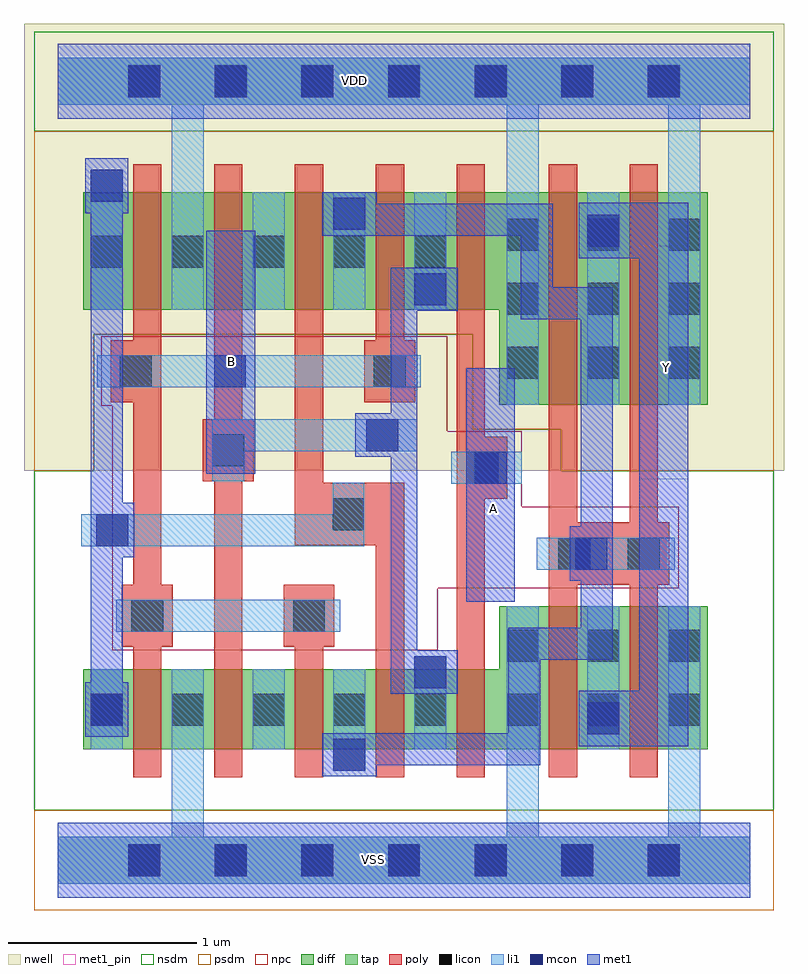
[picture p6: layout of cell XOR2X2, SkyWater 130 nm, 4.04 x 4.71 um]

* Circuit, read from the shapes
.subckt XOR2X2 A B VDD VSS Y
XM1 VSS B n1 VSS sky130_fd_pr__nfet_01v8 w=0.425 l=0.15
XM2 n2 n3 VSS VSS sky130_fd_pr__nfet_01v8 w=0.425 l=0.15
XM3 n4 B n2 VSS sky130_fd_pr__nfet_01v8 w=0.425 l=0.15
XM4 n3 n1 n4 VSS sky130_fd_pr__nfet_01v8 w=0.425 l=0.15
XM5 VSS A n3 VSS sky130_fd_pr__nfet_01v8 w=0.425 l=0.15
XM6 Y n4 VSS VSS sky130_fd_pr__nfet_01v8 w=0.76 l=0.15 m=2
XM7 VDD B n1 VDD sky130_fd_pr__pfet_01v8 w=0.625 l=0.15
XM8 n5 n3 VDD VDD sky130_fd_pr__pfet_01v8 w=0.625 l=0.15
XM9 n4 n1 n5 VDD sky130_fd_pr__pfet_01v8 w=0.625 l=0.15
XM10 n3 B n4 VDD sky130_fd_pr__pfet_01v8 w=0.625 l=0.15
XM11 VDD A n3 VDD sky130_fd_pr__pfet_01v8 w=0.625 l=0.15
XM12 Y n4 VDD VDD sky130_fd_pr__pfet_01v8 w=1.13 l=0.15 m=2
.ends

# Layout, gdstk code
from math import pi, radians
import gdstk
lib = gdstk.Library(unit=1e-6, precision=1e-09)
def R(c, l, rs):  # rectangles x0, y0, x1, y1
    for r in rs: c.add(gdstk.rectangle(r[:2], r[2:], *l))
def A(c, l, x, y, w, h, nx, ny, dx, dy):  # array of equal rectangles
    R(c, l, [(x+i*dx, y+j*dy, x+i*dx+w, y+j*dy+h) for i in range(nx) for j in range(ny)])
def P(c, l, *ps):  # polygons
    for p in ps: c.add(gdstk.Polygon(p, *l))
nwell = (64, 20)
diff = (65, 20)
tap = (65, 44)
poly = (66, 20)
licon = (66, 44)
li1 = (67, 20)
mcon = (67, 44)
met1_pin = (68, 16)
met1 = (68, 20)
nsdm = (93, 44)
psdm = (94, 20)
npc = (95, 20)

l1m1_c_cdns_751554744751 = lib.new_cell('L1M1_C_CDNS_7515547447512')
R(l1m1_c_cdns_751554744751, li1, [(-0.085,-0.165,0.085,0.085)])
R(l1m1_c_cdns_751554744751, mcon, [(-0.085,-0.085,0.085,0.085)])
R(l1m1_c_cdns_751554744751, met1, [(-0.145,-0.115,0.145,0.115)])

pyl1con_c_cdns_751554744 = lib.new_cell('PYL1CON_C_CDNS_751554744751')
R(pyl1con_c_cdns_751554744, poly, [(-0.135,-0.165,0.135,0.165)])
R(pyl1con_c_cdns_751554744, licon, [(-0.085,-0.085,0.085,0.085)])
R(pyl1con_c_cdns_751554744, npc, [(-0.185,-0.185,0.185,0.185)])

l1m1_c_cdns_751554744750 = lib.new_cell('L1M1_C_CDNS_751554744750')
R(l1m1_c_cdns_751554744750, li1, [(-0.165,-0.085,0.165,0.085)])
R(l1m1_c_cdns_751554744750, mcon, [(-0.085,-0.085,0.085,0.085)])
R(l1m1_c_cdns_751554744750, met1, [(-0.115,-0.145,0.115,0.145)])

l1m1_c_cdns_751554744753 = lib.new_cell('L1M1_C_CDNS_751554744753')
R(l1m1_c_cdns_751554744753, li1, [(-0.085,-0.165,0.085,0.165)])
R(l1m1_c_cdns_751554744753, mcon, [(-0.085,-0.085,0.085,0.085)])
R(l1m1_c_cdns_751554744753, met1, [(-0.115,-0.145,0.115,0.145)])

c_l1m1_c_cdns_751554744751 = lib.new_cell('L1M1_C_CDNS_7515547447513')
R(c_l1m1_c_cdns_751554744751, li1, [(-0.085,-0.085,0.085,0.085)])
R(c_l1m1_c_cdns_751554744751, mcon, [(-0.085,-0.085,0.085,0.085)])
R(c_l1m1_c_cdns_751554744751, met1, [(-0.145,-0.115,0.145,0.115)])

licondiff_c_cdns_7515547 = lib.new_cell('LICONDIFF_C_CDNS_751554744755')
R(licondiff_c_cdns_7515547, diff, [(-0.125,-0.145,0.125,0.145)])
R(licondiff_c_cdns_7515547, licon, [(-0.085,-0.085,0.085,0.085), (-0.085,-0.085,0.085,0.085)])

c_l1m1_c_cdns_751554744751_ = lib.new_cell('L1M1_C_CDNS_7515547447514')
R(c_l1m1_c_cdns_751554744751_, li1, [(-0.085,-0.165,0.085,0.085)])
R(c_l1m1_c_cdns_751554744751_, mcon, [(-0.085,-0.085,0.085,0.085)])
R(c_l1m1_c_cdns_751554744751_, met1, [(-0.115,-0.145,0.115,0.145)])

xor2x2 = lib.new_cell('XOR2X2')
R(xor2x2, nwell, [(-0.18,2.07,3.86,4.445)])
P(xor2x2, diff, [(3.455,3.55),(0.135,3.55),(0.135,2.925),(2.345,2.925),(2.345,2.42),(3.455,2.42)],
  [(3.455,1.35),(2.345,1.35),(2.345,1.015),(0.135,1.015),(0.135,0.59),(3.455,0.59)])
R(xor2x2, poly, [(0.4,0.44,0.55,3.7), (0.83,0.44,0.98,3.7), (1.26,0.44,1.41,1.165), (2.12,0.44,2.27,3.7), (1.69,2.6,1.84,3.7)])
P(xor2x2, poly, [(1.84,2.005),(1.41,2.005),(1.41,3.7),(1.26,3.7),(1.26,1.675),(1.69,1.675),(1.69,0.44),(1.84,0.44)],
  [(3.19,3.7),(3.04,3.7),(3.04,1.795),(2.76,1.795),(2.76,3.7),(2.61,3.7),(2.61,0.44),(2.76,0.44),(2.76,1.465),(3.04,1.465),(3.04,0.44),(3.19,0.44)])
A(xor2x2, licon, 0.375, -0.085, 0.17, 0.17, 7, 2, 0.46, 4.14)
A(xor2x2, licon, 2.385, 0.715, 0.17, 0.17, 3, 2, 0.43, 0.34)
A(xor2x2, licon, 2.385, 2.56, 0.17, 0.17, 3, 3, 0.43, 0.34)
R(xor2x2, licon, [(0.175,0.715,0.345,0.885), (0.605,0.715,0.775,0.885), (1.465,0.715,1.635,0.885), (1.895,0.715,2.065,0.885), (0.175,3.15,0.345,3.32), (0.605,3.15,0.775,3.32), (1.465,3.15,1.635,3.32), (1.895,3.15,2.065,3.32)])
R(xor2x2, li1, [(0.175,0.59,0.345,1.015), (1.465,0.59,1.635,1.015), (1.895,0.59,2.065,1.015), (2.815,0.59,2.985,1.35), (2.815,2.42,2.985,3.55), (0.175,2.925,0.345,3.55), (1.465,2.925,1.635,3.55), (1.895,2.925,2.065,3.55)])
P(xor2x2, li1, [(1.63,2.005),(1.46,2.005),(1.46,1.84),(0.25,1.84),(0.25,1.67),(1.63,1.67)],
  [(3.68,4.265),(0,4.265),(0,4.015),(0.605,4.015),(0.605,2.925),(0.775,2.925),(0.775,4.015),(2.385,4.015),(2.385,2.42),(2.555,2.42),(2.555,4.015),(3.245,4.015),(3.245,2.42),(3.415,2.42),(3.415,4.015),(3.68,4.015)],
  [(3.68,0.125),(3.415,0.125),(3.415,1.35),(3.245,1.35),(3.245,0.125),(2.555,0.125),(2.555,1.35),(2.385,1.35),(2.385,0.125),(0.775,0.125),(0.775,1.015),(0.605,1.015),(0.605,0.125),(0,0.125),(0,-0.125),(3.68,-0.125)])
A(xor2x2, mcon, 0.375, -0.085, 0.17, 0.17, 7, 2, 0.46, 4.14)
R(xor2x2, met1_pin, [(2.17,1.375,2.43,2.615), (3.09,2.025,3.35,3.265), (0.79,2.055,1.05,3.345)])
P(xor2x2, met1, [(2.125,3.15),(1.77,3.15),(1.77,0.885),(1.91,0.885),(1.91,2.98),(2.125,2.98)],
  [(2.95,3.045),(2.63,3.045),(2.63,3.49),(1.405,3.49),(1.405,3.32),(2.46,3.32),(2.46,2.875),(2.78,2.875),(2.78,1.235),(2.395,1.235),(2.395,0.675),(1.405,0.675),(1.405,0.505),(2.565,0.505),(2.565,1.065),(2.95,1.065)],
  [(3.35,3.495),(2.77,3.495),(2.77,3.2),(3.09,3.2),(3.09,0.9),(2.77,0.9),(2.77,0.605),(3.35,0.605)])
R(xor2x2, nsdm, [(-0.125,3.875,3.805,4.405)])
P(xor2x2, nsdm, [(3.805,2.07),(2.675,2.07),(2.675,2.29),(2.205,2.29),(2.205,2.795),(0.19,2.795),(0.19,2.07),(-0.125,2.07),(-0.125,0.265),(3.805,0.265)])
R(xor2x2, psdm, [(-0.125,-0.265,3.805,0.265)])
P(xor2x2, psdm, [(3.805,3.875),(-0.125,3.875),(-0.125,2.07),(0.19,2.07),(0.19,2.795),(2.205,2.795),(2.205,2.29),(2.675,2.29),(2.675,2.07),(3.805,2.07)])
P(xor2x2, npc, [(3.3,1.88),(2.465,1.88),(2.465,2.28),(2.07,2.28),(2.07,2.785),(0.29,2.785),(0.29,1.115),(2.02,1.115),(2.02,1.445),(3.3,1.445)])
xor2x2.add(gdstk.FlexPath([(1.12,0.59),(1.12,1.015)], 0.17, ends="flush", simple_path=True, layer=67, datatype=20))  # li1
xor2x2.add(gdstk.FlexPath([(1.12,2.925),(1.12,3.55)], 0.17, ends="flush", simple_path=True, layer=67, datatype=20))  # li1
xor2x2.add(gdstk.FlexPath([(2.545,1.63),(3.28,1.63)], 0.17, ends="flush", simple_path=True, layer=67, datatype=20))  # li1
xor2x2.add(gdstk.FlexPath([(1.91,2.26),(0.905,2.26),(0.905,2.015)], 0.17, ends="flush", simple_path=True, layer=67, datatype=20))  # li1
xor2x2.add(gdstk.FlexPath([(2.465,2.085),(2.09,2.085)], 0.17, ends="flush", simple_path=True, layer=67, datatype=20))  # li1
xor2x2.add(gdstk.FlexPath([(0.31,1.3),(1.5,1.3)], 0.17, ends="flush", simple_path=True, layer=67, datatype=20))  # li1
xor2x2.add(gdstk.FlexPath([(0.21,2.6),(1.93,2.6)], 0.17, ends="flush", simple_path=True, layer=67, datatype=20))  # li1
xor2x2.add(gdstk.FlexPath([(0,0),(3.68,0)], 0.4, ends="flush", simple_path=True, layer=68, datatype=20))  # met1
xor2x2.add(gdstk.FlexPath([(0,4.14),(3.68,4.14)], 0.4, ends="flush", simple_path=True, layer=68, datatype=20))  # met1
xor2x2.add(gdstk.FlexPath([(2.3,1.375),(2.3,2.615)], 0.26, ends="flush", simple_path=True, layer=68, datatype=20))  # met1
xor2x2.add(gdstk.FlexPath([(0.92,2.055),(0.92,3.345)], 0.26, ends="flush", simple_path=True, layer=68, datatype=20))  # met1
xor2x2.add(gdstk.FlexPath([(0.26,0.655),(0.26,3.73)], 0.17, ends="flush", simple_path=True, layer=68, datatype=20))  # met1
xor2x2.add(gdstk.FlexPath([(0,4.14),(3.68,4.14)], 0.4, ends="flush", simple_path=True, layer=68, datatype=16))  # met1_pin
xor2x2.add(gdstk.FlexPath([(0,0),(3.68,0)], 0.4, ends="flush", simple_path=True, layer=68, datatype=16))  # met1_pin
xor2x2.add(gdstk.FlexPath([(0,4.14),(3.68,4.14)], 0.25, ends="flush", simple_path=True, layer=65, datatype=44))  # tap
xor2x2.add(gdstk.FlexPath([(0,0),(3.68,0)], 0.25, ends="flush", simple_path=True, layer=65, datatype=44))  # tap
xor2x2.add(gdstk.Reference(l1m1_c_cdns_751554744751, (2.835,1.63), rotation=pi/2))
xor2x2.add(gdstk.Reference(pyl1con_c_cdns_751554744, (3.115,1.63), rotation=pi))
xor2x2.add(gdstk.Reference(pyl1con_c_cdns_751554744, (2.745,1.63), rotation=pi))
xor2x2.add(gdstk.Reference(pyl1con_c_cdns_751554744, (0.905,2.18), rotation=pi))
xor2x2.add(gdstk.Reference(pyl1con_c_cdns_751554744, (2.255,2.085), rotation=pi))
xor2x2.add(gdstk.Reference(pyl1con_c_cdns_751554744, (1.335,1.3), rotation=pi))
xor2x2.add(gdstk.Reference(pyl1con_c_cdns_751554744, (0.475,1.3), rotation=pi))
xor2x2.add(gdstk.Reference(pyl1con_c_cdns_751554744, (1.765,2.6), rotation=pi))
xor2x2.add(gdstk.Reference(pyl1con_c_cdns_751554744, (0.415,2.6), rotation=pi))
xor2x2.add(gdstk.Reference(pyl1con_c_cdns_751554744, (1.545,1.84), x_reflection=True))
xor2x2.add(gdstk.Reference(l1m1_c_cdns_751554744750, (2.3,2.085), x_reflection=True))
xor2x2.add(gdstk.Reference(l1m1_c_cdns_751554744750, (0.915,2.6), x_reflection=True))
xor2x2.add(gdstk.Reference(l1m1_c_cdns_751554744750, (0.29,1.755), rotation=pi, x_reflection=True))
xor2x2.add(gdstk.Reference(l1m1_c_cdns_751554744753, (2.9,0.755)))
xor2x2.add(gdstk.Reference(l1m1_c_cdns_751554744753, (2.9,3.345)))
xor2x2.add(gdstk.Reference(l1m1_c_cdns_751554744753, (0.26,0.8)))
xor2x2.add(gdstk.Reference(c_l1m1_c_cdns_751554744751, (1.55,3.435), rotation=pi))
xor2x2.add(gdstk.Reference(c_l1m1_c_cdns_751554744751, (1.55,0.56), rotation=pi))
xor2x2.add(gdstk.Reference(c_l1m1_c_cdns_751554744751, (1.98,3.035), x_reflection=True))
xor2x2.add(gdstk.Reference(c_l1m1_c_cdns_751554744751, (1.98,1), x_reflection=True))
xor2x2.add(gdstk.Reference(licondiff_c_cdns_7515547, (1.12,0.8)))
xor2x2.add(gdstk.Reference(licondiff_c_cdns_7515547, (1.12,3.235)))
xor2x2.add(gdstk.Reference(c_l1m1_c_cdns_751554744751_, (0.26,3.585)))
xor2x2.add(gdstk.Reference(c_l1m1_c_cdns_751554744751_, (1.725,2.26), rotation=pi/2, x_reflection=True))
xor2x2.add(gdstk.Label('VDD', (1.575,4.145), layer=68, texttype=5))
xor2x2.add(gdstk.Label('Y', (3.235,2.62), layer=68, texttype=5))
xor2x2.add(gdstk.Label('B', (0.925,2.65), layer=68, texttype=5))
xor2x2.add(gdstk.Label('VSS', (1.68,0.005), layer=68, texttype=5))
xor2x2.add(gdstk.Label('A', (2.315,1.87), layer=68, texttype=5))

lib.write_gds('XOR2X2.gds')
